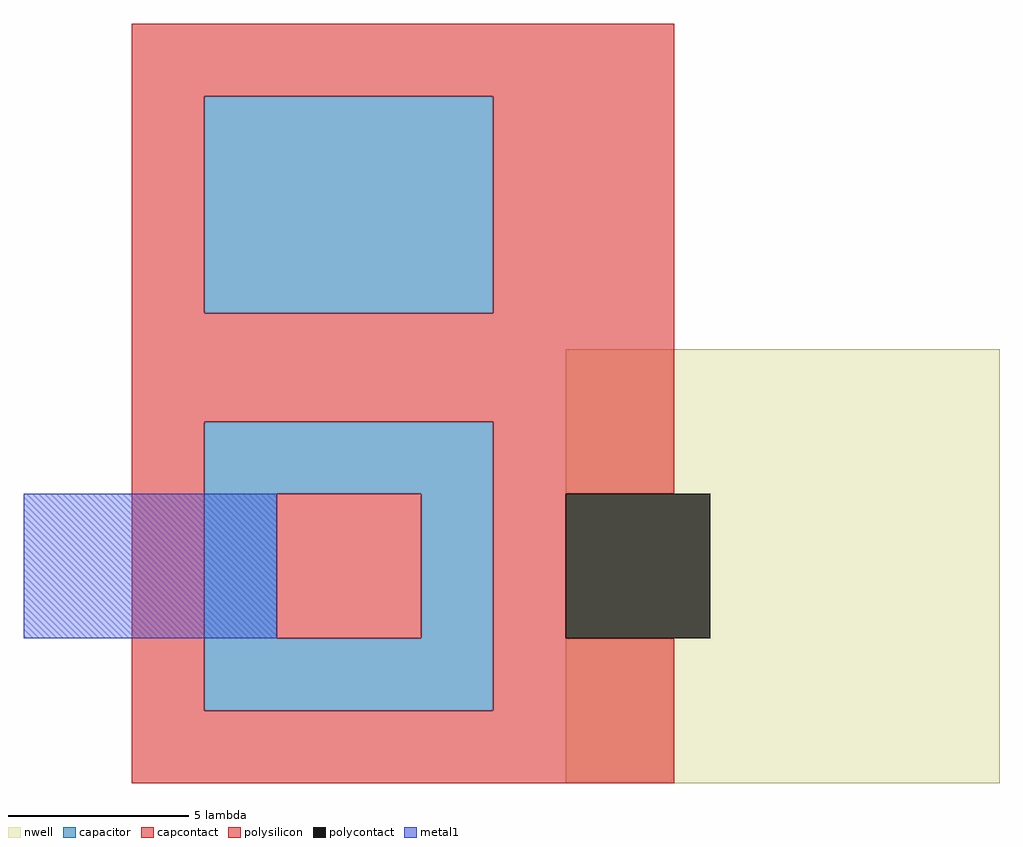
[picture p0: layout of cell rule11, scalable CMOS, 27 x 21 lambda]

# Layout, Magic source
magic
tech scmos
<< nwell >>
rect 12 0 24 12
<< polysilicon >>
rect 0 19 15 21
rect 0 13 2 19
rect 10 13 15 19
rect 0 10 15 13
rect 0 2 2 10
rect 10 8 15 10
rect 10 4 12 8
rect 10 2 15 4
rect 0 0 15 2
<< capacitor >>
rect 2 13 10 19
rect 2 8 10 10
rect 2 4 4 8
rect 8 4 10 8
rect 2 2 10 4
<< metal1 >>
rect -3 4 4 8
<< polycontact >>
rect 12 4 16 8
<< capcontact >>
rect 4 4 8 8
<< end >>
